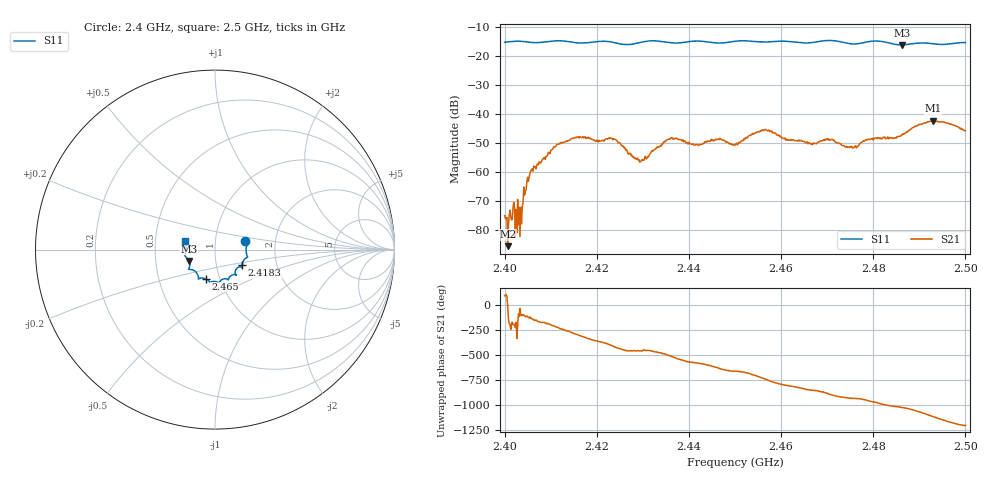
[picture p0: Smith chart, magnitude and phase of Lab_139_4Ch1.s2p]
# Hz S RI R 50
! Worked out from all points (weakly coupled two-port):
!   601 points, 2.4 GHz to 2.5 GHz, reference 50 ohm
!   highest |S21| = -42.28 dB at 2.493 GHz (marker M1); lowest = -85.7 dB at 2.4007 GHz (marker M2)
!   lowest |S11| = -16.0 dB at 2.4862 GHz (marker M3), VSWR 1.38, Z = 37.1 - j4.82 ohm
!   |S11| at or under -10 dB: start of sweep to end of sweep
!   S12 and S22 are empty: the file has one direction only
!   S11 on the Smith chart (normalised r, x): 2.4 GHz: 1.40, +0.13; 2.4183 GHz: 1.33, -0.24; 2.465 GHz: 0.86, -0.29; 2.5 GHz: 0.71, +0.07
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2.4e9  0.169 0.0461  -2.22e-05 0.000173  0 0  0 0
2.400667e9  0.1726 0.0419  5.13e-05 -6.59e-06  0 0  0 0
2.401667e9  0.1774 0.0377  -0.000148 -3.15e-05  0 0  0 0
2.4035e9  0.1797 0.03  -4.46e-05 -0.00024  0 0  0 0
2.404667e9  0.177 0.0217  -0.000176 -0.000457  0 0  0 0
2.406167e9  0.1731 0.00676  -0.000826 -0.000615  0 0  0 0
2.411167e9  0.1814 -0.0397  -0.00227 0.00168  0 0  0 0
2.416667e9  0.1554 -0.0684  0.00248 0.00306  0 0  0 0
2.418333e9  0.15 -0.0872  0.00352 0.00159  0 0  0 0
2.423667e9  0.1446 -0.0967  0.00236 -0.00293  0 0  0 0
2.4295e9  0.1131 -0.133  -0.000103 -0.0015  0 0  0 0
2.433333e9  0.117 -0.1412  -0.000983 -0.00247  0 0  0 0
2.436667e9  0.0931 -0.1428  -0.00348 -0.00121  0 0  0 0
2.45e9  0.0254 -0.1806  0.00141 0.00252  0 0  0 0
2.456333e9  -0.00388 -0.1773  0.00507 -0.00147  0 0  0 0
2.465e9  -0.0527 -0.1621  -0.00156 -0.00297  0 0  0 0
2.466667e9  -0.0714 -0.1577  -0.002 -0.00232  0 0  0 0
2.476e9  -0.1104 -0.1206  -0.00231 0.00148  0 0  0 0
2.483333e9  -0.1421 -0.0959  0.000979 0.0036  0 0  0 0
2.486167e9  -0.1447 -0.0634  0.0025 0.00363  0 0  0 0
2.493e9  -0.1644 -0.0191  0.00621 -0.00453  0 0  0 0
2.5e9  -0.1667 0.0471  -0.00294 -0.0043  0 0  0 0
